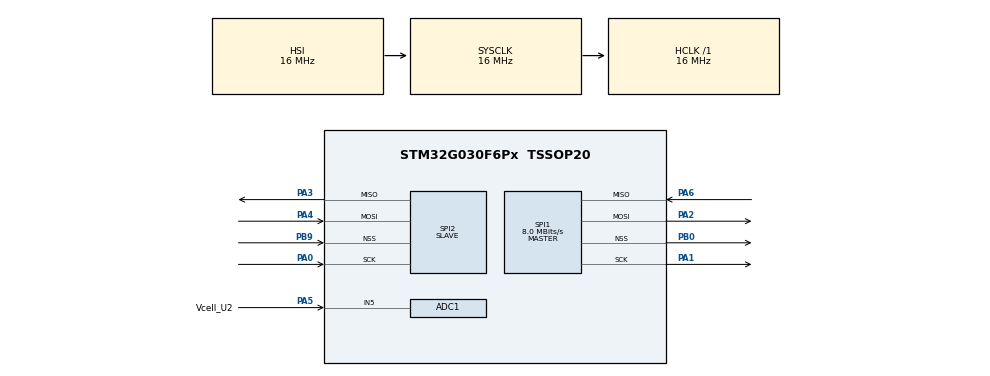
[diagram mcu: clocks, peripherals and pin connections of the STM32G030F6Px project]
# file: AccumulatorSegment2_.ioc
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ADC1.Channel-0\#ChannelRegularConversion=ADC_CHANNEL_5
ADC1.ClockPrescaler=ADC_CLOCK_SYNC_PCLK_DIV4
ADC1.NbrOfConversionFlag=1
ADC1.Rank-0\#ChannelRegularConversion=1
ADC1.SamplingTime-0\#ChannelRegularConversion=ADC_SAMPLINGTIME_COMMON_1
ADC1.SelectedChannel=ADC_CHANNEL_5
ADC1.master=1
Mcu.Family=STM32G0
Mcu.Name=STM32G030F6Px
Mcu.Package=TSSOP20
PA0.Mode=Full_Duplex_Slave
PA0.Signal=SPI2_SCK
PA1.Mode=Full_Duplex_Master
PA1.Signal=SPI1_SCK
PA13.Mode=Serial_Wire
PA13.Signal=SYS_SWDIO
PA14-BOOT0.Mode=Serial_Wire
PA14-BOOT0.Signal=SYS_SWCLK
PA14-BOOT0__PA15.StandardMode=true
PA2.Mode=Full_Duplex_Master
PA2.Signal=SPI1_MOSI
PA3.Mode=Full_Duplex_Slave
PA3.Signal=SPI2_MISO
PA4.Mode=Full_Duplex_Slave
PA4.Signal=SPI2_MOSI
PA5.GPIO_Label=Vcell_U2
PA5.GPIO_PuPd=GPIO_NOPULL
PA5.Mode=IN5
PA5.Signal=ADC1_IN5
PA6.Mode=Full_Duplex_Master
PA6.Signal=SPI1_MISO
PB0.Mode=NSS_Signal_Hard_Output
PB0.Signal=SPI1_NSS
PB0__PB1__PB2__PA8.StandardMode=true
PB3__PB4__PB5__PB6.StandardMode=true
PB7__PB8.StandardMode=true
PB9.Mode=NSS_Signal_Hard_Input
PB9.Signal=SPI2_NSS
PC14-OSC32_IN\ (PC14)__PB9.StandardMode=true
ProjectManager.HeapSize=0x200
ProjectManager.StackSize=0x400
ProjectManager.TargetToolchain=STM32CubeIDE
RCC.AHBFreq_Value=16000000
RCC.CortexFreq_Value=16000000
RCC.EXTERNAL_CLOCK_VALUE=12288000
RCC.HCLKFreq_Value=16000000
RCC.HSE_VALUE=8000000
RCC.HSI_VALUE=16000000
RCC.LSE_VALUE=32768
RCC.SYSCLKFreq_VALUE=16000000
RCC.VCOOutputFreq_Value=128000000
SPI1.CalculateBaudRate=8.0 MBits/s
SPI1.Direction=SPI_DIRECTION_2LINES
SPI1.Mode=SPI_MODE_MASTER
SPI1.VirtualNSS=VM_NSSHARD
SPI1.VirtualType=VM_MASTER
SPI2.Direction=SPI_DIRECTION_2LINES
SPI2.Mode=SPI_MODE_SLAVE
SPI2.VirtualNSS=VM_NSSHARD
SPI2.VirtualType=VM_SLAVE
board=custom

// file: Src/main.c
/* USER CODE BEGIN Header */
/**
 ******************************************************************************
 * @file           : main.c
 * @brief          : Main program body
 ******************************************************************************
 * @attention
 *
 * <h2><center>&copy; Copyright (c) 2022 STMicroelectronics.
 * All rights reserved.</center></h2>
 *
 * This software component is licensed by ST under BSD 3-Clause license,
 * the "License"; You may not use this file except in compliance with the
 * License. You may obtain a copy of the License at:
 *                        opensource.org/licenses/BSD-3-Clause
 *
 ******************************************************************************
 */
/* USER CODE END Header */
#include "main.h"

/* USER CODE BEGIN PD */
#define SPI_TIMEOUT 200

#define ECS_HIGH 	0x80 //If on, enable cell selection
#define SC0_HIGH 	0x40 //Select cell for voltage readout during hold phase
#define SC1_HIGH 	0x20
#define SC2_HIGH 	0x10
#define SC3_HIGH 	0x08
#define SMPLB_HIGH 	0x04 //If on, in hold phase. Else, if sampl input high, then in sample phase
#define DIAG_HIGH 	0x02 //If on, in diagnostic mode (10uA sunk on all cell inputs)
#define LOPW_HIGH 	0x01 //If on, low power mode enabled

#define SAMPLE_DELAY 45 //time to stay in sample phase, in ms
#define HOLD_DELAY 1	//time to transition into hold phase, in us
#define LEVEL_SHIFT_DELAY 55 //time to shift cap voltages to ground reference, in us
#define SETTLING_DELAY 50 //time to let a_out settle, in us
/* USER CODE END PD */

 ADC_HandleTypeDef hadc1;

SPI_HandleTypeDef hspi1;
SPI_HandleTypeDef hspi2;

void SystemClock_Config(void);
static void MX_GPIO_Init(void);
static void MX_ADC1_Init(void);
static void MX_SPI1_Init(void);
static void MX_SPI2_Init(void);

int main(void)
{

  /* MCU Configuration--------------------------------------------------------*/

  /* Reset of all peripherals, Initializes the Flash interface and the Systick. */
  HAL_Init();

  /* Configure the system clock */
  SystemClock_Config();

  /* Initialize all configured peripherals */
  MX_GPIO_Init();
  MX_ADC1_Init();
  MX_SPI1_Init();
  MX_SPI2_Init();
  /* USER CODE BEGIN 2 */
	uint8_t u1_buffer_in[] = { 0x00, 0x00, 0x80 };
	uint8_t *balance_low = &u1_buffer_in[0];
	uint8_t *balance_high = &u1_buffer_in[1];
	uint8_t *config = &u1_buffer_in[2];

	uint16_t cell_voltages[4] = { 0 };

	uint8_t buffer_out[8] = { 0x01, 0x23, 0x45, 0x67, 0x89, 0xAB, 0xCD, 0xEF };

  /* USER CODE END 2 */

  /* Infinite loop */
	while (1) {

    /* USER CODE BEGIN 3 */

		//We don't actually need the cell voltages from the left half;
		//we just use this to sync up with the left half of the BMS segment board
		uint16_t buffer_in[12] = { 0 };
		HAL_SPI_Receive(&hspi1, buffer_in, 12 * sizeof(uint16_t), SPI_TIMEOUT*15);

		//charge up sample capacitors
		*balance_low = 0;
		*balance_high = 0;
		*config = 0;

		//start sample phase - charge up sample capacitors
		HAL_SPI_Transmit(&hspi1, buffer_out, 3, SPI_TIMEOUT);

		//wait for sample phase to complete, at least 40 ms
		HAL_Delay(SAMPLE_DELAY);

		//start hold phase
		*config = SMPLB_HIGH;
		HAL_SPI_Transmit(&hspi1, buffer_out, 3, SPI_TIMEOUT);

		//wait for sample cap voltages to shift to ground reference, at least 50.5 us
		delay_us(HOLD_DELAY + LEVEL_SHIFT_DELAY);

		*balance_low = 0;
		*balance_high = 0;
		//Measure voltage of every set of cells
		for (int i = 0; i < 4; i++) {
			*config = ECS_HIGH;
			//Set SC0 and SC1, depending on the value of i
			//Since we're only measuring 4 cells, SC2 and SC3 are always 0
			int cell = i;
			if (i / 2 != 0) {
				cell -= 2;
				*config = *config || SC1_HIGH;
			}
			if (cell == 1) {
				*config = *config || SC0_HIGH;
			}
			//tell MAX14920 to measure voltage of cell i
			HAL_SPI_Transmit(&hspi1, u1_buffer_in, 3, 200);

			//Time delay to allow voltage measurement to settle.
			//According to MAX14920 datasheet, we should have a delay of over 5us.
			//I was gonna do this with a bunch of NOP instructions, but it turns out
			//	that reading from ADC takes a few microseconds anyways.
			//  		for (int j = 0; j < 200; j++) {
			//  			asm("NOP");
			//  		}

			//read voltage of cell i from ADC
			HAL_ADC_Start(&hadc1);
			HAL_ADC_PollForConversion(&hadc1, 2);
			cell_voltages[i] = HAL_ADC_GetValue(&hadc1);
		}

		//send cell voltages to BMS controller
		HAL_SPI_Transmit(&hspi2, (uint8_t *) cell_voltages, 4 * sizeof(uint16_t), SPI_TIMEOUT);
	}
  /* USER CODE END 3 */
}

void SystemClock_Config(void)
{
  RCC_OscInitTypeDef RCC_OscInitStruct = {0};
  RCC_ClkInitTypeDef RCC_ClkInitStruct = {0};

  /** Configure the main internal regulator output voltage
  */
  HAL_PWREx_ControlVoltageScaling(PWR_REGULATOR_VOLTAGE_SCALE1);

  /** Initializes the RCC Oscillators according to the specified parameters
  * in the RCC_OscInitTypeDef structure.
  */
  RCC_OscInitStruct.OscillatorType = RCC_OSCILLATORTYPE_HSI;
  RCC_OscInitStruct.HSIState = RCC_HSI_ON;
  RCC_OscInitStruct.HSIDiv = RCC_HSI_DIV1;
  RCC_OscInitStruct.HSICalibrationValue = RCC_HSICALIBRATION_DEFAULT;
  RCC_OscInitStruct.PLL.PLLState = RCC_PLL_NONE;
  if (HAL_RCC_OscConfig(&RCC_OscInitStruct) != HAL_OK)
  {
    Error_Handler();
  }

  /** Initializes the CPU, AHB and APB buses clocks
  */
  RCC_ClkInitStruct.ClockType = RCC_CLOCKTYPE_HCLK|RCC_CLOCKTYPE_SYSCLK
                              |RCC_CLOCKTYPE_PCLK1;
  RCC_ClkInitStruct.SYSCLKSource = RCC_SYSCLKSOURCE_HSI;
  RCC_ClkInitStruct.AHBCLKDivider = RCC_SYSCLK_DIV1;
  RCC_ClkInitStruct.APB1CLKDivider = RCC_HCLK_DIV1;

  if (HAL_RCC_ClockConfig(&RCC_ClkInitStruct, FLASH_LATENCY_0) != HAL_OK)
  {
    Error_Handler();
  }
}

static void MX_ADC1_Init(void)
{

  ADC_ChannelConfTypeDef sConfig = {0};

  /** Configure the global features of the ADC (Clock, Resolution, Data Alignment and number of conversion)
  */
  hadc1.Instance = ADC1;
  hadc1.Init.ClockPrescaler = ADC_CLOCK_SYNC_PCLK_DIV4;
  hadc1.Init.Resolution = ADC_RESOLUTION_12B;
  hadc1.Init.DataAlign = ADC_DATAALIGN_RIGHT;
  hadc1.Init.ScanConvMode = ADC_SCAN_DISABLE;
  hadc1.Init.EOCSelection = ADC_EOC_SINGLE_CONV;
  hadc1.Init.LowPowerAutoWait = DISABLE;
  hadc1.Init.LowPowerAutoPowerOff = DISABLE;
  hadc1.Init.ContinuousConvMode = DISABLE;
  hadc1.Init.NbrOfConversion = 1;
  hadc1.Init.ExternalTrigConv = ADC_SOFTWARE_START;
  hadc1.Init.ExternalTrigConvEdge = ADC_EXTERNALTRIGCONVEDGE_NONE;
  hadc1.Init.DMAContinuousRequests = DISABLE;
  hadc1.Init.Overrun = ADC_OVR_DATA_PRESERVED;
  hadc1.Init.SamplingTimeCommon1 = ADC_SAMPLETIME_1CYCLE_5;
  hadc1.Init.SamplingTimeCommon2 = ADC_SAMPLETIME_1CYCLE_5;
  hadc1.Init.OversamplingMode = DISABLE;
  hadc1.Init.TriggerFrequencyMode = ADC_TRIGGER_FREQ_HIGH;
  if (HAL_ADC_Init(&hadc1) != HAL_OK)
  {
    Error_Handler();
  }

  /** Configure Regular Channel
  */
  sConfig.Channel = ADC_CHANNEL_5;
  sConfig.Rank = ADC_REGULAR_RANK_1;
  sConfig.SamplingTime = ADC_SAMPLINGTIME_COMMON_1;
  if (HAL_ADC_ConfigChannel(&hadc1, &sConfig) != HAL_OK)
  {
    Error_Handler();
  }

}

static void MX_SPI1_Init(void)
{

  /* SPI1 parameter configuration*/
  hspi1.Instance = SPI1;
  hspi1.Init.Mode = SPI_MODE_MASTER;
  hspi1.Init.Direction = SPI_DIRECTION_2LINES;
  hspi1.Init.DataSize = SPI_DATASIZE_8BIT;
  hspi1.Init.CLKPolarity = SPI_POLARITY_LOW;
  hspi1.Init.CLKPhase = SPI_PHASE_1EDGE;
  hspi1.Init.NSS = SPI_NSS_HARD_OUTPUT;
  hspi1.Init.BaudRatePrescaler = SPI_BAUDRATEPRESCALER_2;
  hspi1.Init.FirstBit = SPI_FIRSTBIT_MSB;
  hspi1.Init.TIMode = SPI_TIMODE_DISABLE;
  hspi1.Init.CRCCalculation = SPI_CRCCALCULATION_DISABLE;
  hspi1.Init.CRCPolynomial = 7;
  hspi1.Init.CRCLength = SPI_CRC_LENGTH_DATASIZE;
  hspi1.Init.NSSPMode = SPI_NSS_PULSE_ENABLE;
  if (HAL_SPI_Init(&hspi1) != HAL_OK)
  {
    Error_Handler();
  }

}

static void MX_SPI2_Init(void)
{

  /* SPI2 parameter configuration*/
  hspi2.Instance = SPI2;
  hspi2.Init.Mode = SPI_MODE_SLAVE;
  hspi2.Init.Direction = SPI_DIRECTION_2LINES;
  hspi2.Init.DataSize = SPI_DATASIZE_8BIT;
  hspi2.Init.CLKPolarity = SPI_POLARITY_LOW;
  hspi2.Init.CLKPhase = SPI_PHASE_1EDGE;
  hspi2.Init.NSS = SPI_NSS_HARD_INPUT;
  hspi2.Init.FirstBit = SPI_FIRSTBIT_MSB;
  hspi2.Init.TIMode = SPI_TIMODE_DISABLE;
  hspi2.Init.CRCCalculation = SPI_CRCCALCULATION_DISABLE;
  hspi2.Init.CRCPolynomial = 7;
  hspi2.Init.CRCLength = SPI_CRC_LENGTH_DATASIZE;
  hspi2.Init.NSSPMode = SPI_NSS_PULSE_DISABLE;
  if (HAL_SPI_Init(&hspi2) != HAL_OK)
  {
    Error_Handler();
  }

}

static void MX_GPIO_Init(void)
{

  /* GPIO Ports Clock Enable */
  __HAL_RCC_GPIOB_CLK_ENABLE();
  __HAL_RCC_GPIOA_CLK_ENABLE();

}

void Error_Handler(void)
{
}
